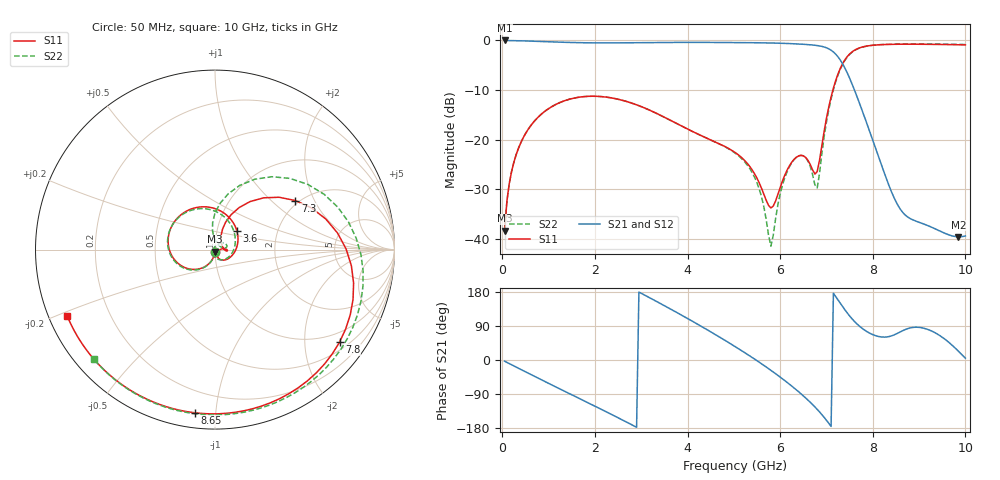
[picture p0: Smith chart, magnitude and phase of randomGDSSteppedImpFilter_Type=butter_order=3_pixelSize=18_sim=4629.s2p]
! freq	dB(S11)	phase(S11)	dB(S12)	phase(S12)
!  dB(S21)	phase(S21)	dB(S22)	phase(S22)
!S-par simulation data
#  GHz  S  DB  R 50
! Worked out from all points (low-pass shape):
!   200 points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, 50 MHz to 10 GHz, reference 50 ohm
!   highest |S21| = 0.00 dB at 50 MHz (marker M1); lowest = -39.5 dB at 9.85 GHz (marker M2)
!   |S21| within 3 dB of the highest: start of sweep to 7.222 GHz
!   lowest |S11| = -38.3 dB at 50 MHz (marker M3), VSWR 1.02, Z = 49.9 - j1.21 ohm
!   |S11| at or under -10 dB: start of sweep to 7.139 GHz
!   |S22| runs from -41.4 to -0.7 dB; largest |S21 - S12| = 0
!   S11 on the Smith chart (normalised r, x): 50 MHz: 1.00, -0.02; 3.6 GHz: 1.25, +0.26; 7.3 GHz: 1.91, +1.44; 7.8 GHz: 0.71, -2.87; 8.65 GHz: 0.08, -0.88; 10 GHz: 0.05, -0.21
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0.05  -38.30 -92.9  -0.00 -3.2  -0.00 -3.2  -38.30 -92.8
0.2  -26.41 -102.6  -0.03 -12.6  -0.03 -12.6  -26.41 -102.2
0.5  -18.78 -122.1  -0.10 -31.2  -0.10 -31.2  -18.78 -121.0
1.15  -12.91 -162.7  -0.32 -70.8  -0.32 -70.8  -12.91 -160.0
1.75  -11.32 160.4  -0.47 -106.8  -0.47 -106.8  -11.32 164.9
2.65  -12.20 103.8  -0.47 -161.7  -0.47 -161.7  -12.20 112.1
3.4  -15.00 53.7  -0.41 150.0  -0.41 150.0  -15.00 66.6
3.6  -15.94 40.0  -0.40 136.7  -0.40 136.7  -15.93 54.1
4.35  -19.39 -10.6  -0.40 85.1  -0.40 85.1  -19.40 3.6
5.05  -22.71 -53.3  -0.43 33.7  -0.43 33.7  -22.84 -51.4
5.5  -27.75 -70.5  -0.47 -1.9  -0.47 -1.9  -28.67 -95.2
5.8  -33.72 -34.6  -0.51 -27.2  -0.51 -27.2  -41.42 163.2
6.25  -24.52 4.1  -0.65 -68.7  -0.65 -68.7  -24.62 39.1
6.7  -26.06 3.5  -0.92 -117.5  -0.92 -117.5  -27.02 13.3
6.8  -26.40 39.3  -1.03 -130.2  -1.03 -130.2  -29.69 56.6
7.05  -13.39 65.3  -1.69 -167.0  -1.69 -167.0  -13.93 90.2
7.3  -5.60 31.4  -3.97 149.4  -3.97 149.4  -5.77 52.0
7.8  -1.27 -36.6  -14.85 80.9  -14.85 80.9  -1.29 -19.4
8.35  -0.80 -79.8  -29.21 61.8  -29.21 61.8  -0.77 -64.0
8.65  -0.76 -97.1  -34.66 77.5  -34.66 77.5  -0.72 -81.3
9.85  -0.87 -150.1  -39.54 23.2  -39.54 23.2  -0.79 -132.4
10  -0.89 -155.9  -39.36 4.9  -39.36 4.9  -0.82 -137.7
